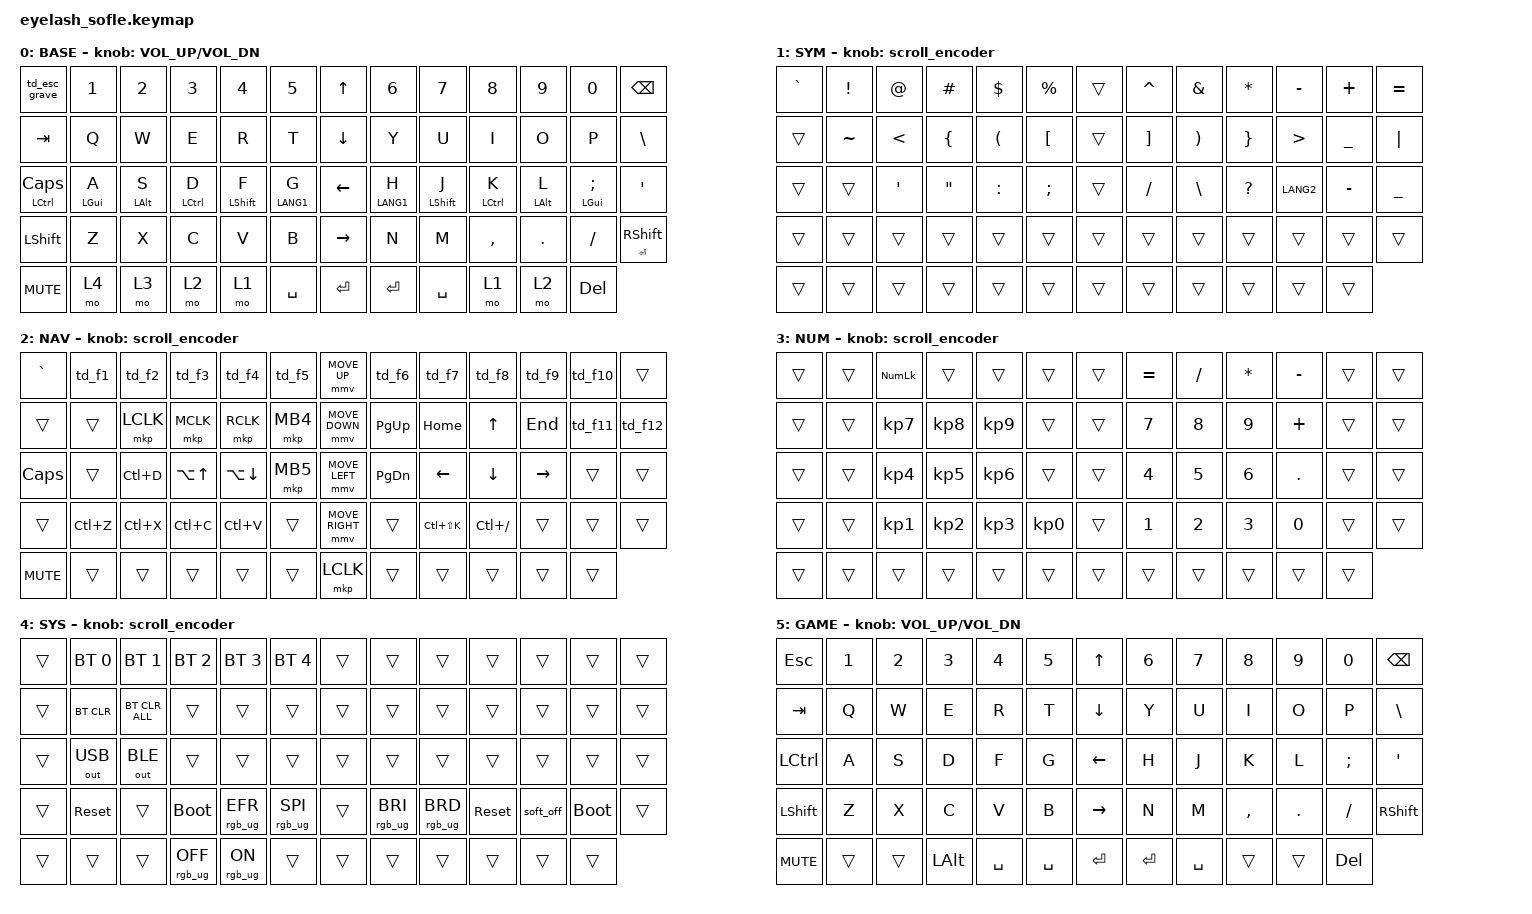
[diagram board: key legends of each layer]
#define ZMK_POINTING_DEFAULT_MOVE_VAL 1200  // 600
#define ZMK_POINTING_DEFAULT_SCRL_VAL 25   // 10

#include <input/processors.dtsi>
#include <zephyr/dt-bindings/input/input-event-codes.h>
#include <behaviors.dtsi>
#include <dt-bindings/zmk/bt.h>
#include <dt-bindings/zmk/keys.h>
#include <dt-bindings/zmk/outputs.h>
#include <dt-bindings/zmk/pointing.h>
#include <dt-bindings/zmk/rgb.h>

/*
 * Key Position Aliases for Eyelash Sofle
 * Row 1: 0-12
 * Row 2: 13-25
 * Row 3: 26-38
 * Row 4: 39-51
 * Row 5: 52-63
 */

#define KEY_Q 14
#define KEY_W 15
#define KEY_S 28
#define KEY_D 29
#define KEY_F 30
#define KEY_Z 40
#define KEY_J 34
#define KEY_K 35
#define KEY_L3 54  // Layer 3 (NUM) 버튼
#define KEY_L4 53  // Layer 4 (SYS) 버튼

&mmv_input_listener { input-processors = <&zip_xy_scaler 2 1>; };

&msc_input_listener { input-processors = <&zip_scroll_scaler 2 1>; };

&msc {
    acceleration-exponent = <1>;      // 0
    time-to-max-speed-ms = <100>;       // 300
    delay-ms = <0>;                   // 0
};

&mmv {
    time-to-max-speed-ms = <500>;
    acceleration-exponent = <1>;
    trigger-period-ms = <16>;
};

&soft_off { hold-time-ms = <2000>; };

/ {
    scroll_encoder: scroll_encoder {
        compatible = "zmk,behavior-sensor-rotate";
        #sensor-binding-cells = <0>;
        bindings = <&msc SCRL_DOWN>, <&msc SCRL_UP>;

        tap-ms = <100>;
    };

    ht: ht {
        compatible = "zmk,behavior-hold-tap";
        label = "HT";
        bindings = <&kp>, <&kp>;

        #binding-cells = <2>;
        tapping-term-ms = <200>;
        quick-tap-ms = <180>;
        require-prior-idle-ms = <150>; // 오타 방지를 위한 입력 유휴 시간 요구
        flavor = "tap-preferred";
    };

    behaviors {
        td_esc_grave: td_esc_grave {
            compatible = "zmk,behavior-tap-dance";
            #binding-cells = <0>;
            tapping-term-ms = <200>;
            bindings = <&kp ESC>, <&kp GRAVE>;
  // 탭: ESC, 더블탭: `
        };

        // F키 탭댄스: 1탭=Fn, 2탭=Ctrl+Fn, 3탭=Alt+Fn

        td_f1: td_f1 {
            compatible = "zmk,behavior-tap-dance";
            #binding-cells = <0>;
            tapping-term-ms = <250>;
            bindings = <&kp F1>, <&kp LC(F1)>, <&kp LA(F1)>;
        };

        td_f2: td_f2 {
            compatible = "zmk,behavior-tap-dance";
            #binding-cells = <0>;
            tapping-term-ms = <250>;
            bindings = <&kp F2>, <&kp LC(F2)>, <&kp LA(F2)>;
        };

        td_f3: td_f3 {
            compatible = "zmk,behavior-tap-dance";
            #binding-cells = <0>;
            tapping-term-ms = <250>;
            bindings = <&kp F3>, <&kp LC(F3)>, <&kp LA(F3)>;
        };

        td_f4: td_f4 {
            compatible = "zmk,behavior-tap-dance";
            #binding-cells = <0>;
            tapping-term-ms = <250>;
            bindings = <&kp F4>, <&kp LC(F4)>, <&kp LA(F4)>;
        };

        td_f5: td_f5 {
            compatible = "zmk,behavior-tap-dance";
            #binding-cells = <0>;
            tapping-term-ms = <250>;
            bindings = <&kp F5>, <&kp LC(F5)>, <&kp LA(F5)>;
        };

        td_f6: td_f6 {
            compatible = "zmk,behavior-tap-dance";
            #binding-cells = <0>;
            tapping-term-ms = <250>;
            bindings = <&kp F6>, <&kp LC(F6)>, <&kp LA(F6)>;
        };

        td_f7: td_f7 {
            compatible = "zmk,behavior-tap-dance";
            #binding-cells = <0>;
            tapping-term-ms = <250>;
            bindings = <&kp F7>, <&kp LC(F7)>, <&kp LA(F7)>;
        };

        td_f8: td_f8 {
            compatible = "zmk,behavior-tap-dance";
            #binding-cells = <0>;
            tapping-term-ms = <250>;
            bindings = <&kp F8>, <&kp LC(F8)>, <&kp LA(F8)>;
        };

        td_f9: td_f9 {
            compatible = "zmk,behavior-tap-dance";
            #binding-cells = <0>;
            tapping-term-ms = <250>;
            bindings = <&kp F9>, <&kp LC(F9)>, <&kp LA(F9)>;
        };

        td_f10: td_f10 {
            compatible = "zmk,behavior-tap-dance";
            #binding-cells = <0>;
            tapping-term-ms = <250>;
            bindings = <&kp F10>, <&kp LC(F10)>, <&kp LA(F10)>;
        };

        td_f11: td_f11 {
            compatible = "zmk,behavior-tap-dance";
            #binding-cells = <0>;
            tapping-term-ms = <250>;
            bindings = <&kp F11>, <&kp LC(F11)>, <&kp LA(F11)>;
        };

        td_f12: td_f12 {
            compatible = "zmk,behavior-tap-dance";
            #binding-cells = <0>;
            tapping-term-ms = <250>;
            bindings = <&kp F12>, <&kp LC(F12)>, <&kp LA(F12)>;
        };
    };

    combos {
        compatible = "zmk,combos";

        softoff {
            bindings = <&soft_off>;
            key-positions = <KEY_Q KEY_S KEY_Z>; // Q + S + Z
        };

        caps_word {
            bindings = <&caps_word>;
            key-positions = <KEY_F KEY_J>;  // F + J 홈로우 Shift 위치
            timeout-ms = <50>;
        };

        combo_esc {
            bindings = <&kp ESC>;
            key-positions = <KEY_J KEY_K>;  // J + K
            timeout-ms = <50>;
        };

        combo_tab {
            bindings = <&kp TAB>;
            key-positions = <KEY_D KEY_F>;  // D + F
            timeout-ms = <50>;
        };

        combo_gaming {
            bindings = <&tog 5>;
            key-positions = <KEY_L4 KEY_L3>;  // Layer 3 + Layer 4 동시 입력
            timeout-ms = <50>;
        };
    };

    keymap {
        compatible = "zmk,keymap";

        layer0 {
            bindings = <
&td_esc_grave   &kp N1      &kp N2      &kp N3       &kp N4       &kp N5         &kp UP_ARROW     &kp N6       &kp N7       &kp N8       &kp N9      &kp N0         &kp BACKSPACE
&kp TAB         &kp Q       &kp W       &kp E        &kp R        &kp T          &kp DOWN_ARROW   &kp Y        &kp U        &kp I        &kp O       &kp P          &kp BSLH
&ht LCTRL CAPS  &ht LGUI A  &ht LALT S  &ht LCTRL D  &ht LSHFT F  &ht LANG1 G    &kp LEFT_ARROW   &ht LANG1 H  &ht LSHFT J  &ht LCTRL K  &ht LALT L  &ht LGUI SEMI  &kp APOS
&kp LSHFT       &kp Z       &kp X       &kp C        &kp V        &kp B          &kp RIGHT_ARROW  &kp N        &kp M        &kp COMMA    &kp DOT     &kp FSLH       &ht RET RIGHT_SHIFT
&kp C_MUTE      &mo 4       &mo 3       &mo 2        &mo 1        &kp SPACE      &kp ENTER        &kp RET      &kp SPACE    &mo 1        &mo 2       &kp DELETE
            >;

            sensor-bindings = <&inc_dec_kp C_VOLUME_UP C_VOL_DN>;
            display-name = "BASE";
        };

        layer_1 {
            bindings = <
&kp GRAVE  &kp EXCL   &kp AT   &kp HASH  &kp DLLR   &kp PRCNT    &trans  &kp CARET  &kp AMPS  &kp ASTRK  &kp MINUS  &kp PLUS   &kp EQUAL
&trans     &kp TILDE  &kp LT   &kp LBRC  &kp LPAR   &kp LBKT     &trans  &kp RBKT   &kp RPAR  &kp RBRC   &kp GT     &kp UNDER  &kp PIPE
&trans     &trans     &kp SQT  &kp DQT   &kp COLON  &kp SEMI     &trans  &kp FSLH   &kp BSLH  &kp QMARK  &kp LANG2  &kp MINUS  &kp UNDERSCORE
&trans     &trans     &trans   &trans    &trans     &trans       &trans  &trans     &trans    &trans     &trans     &trans     &trans
&trans     &trans     &trans   &trans    &trans     &trans       &trans  &trans     &trans    &trans     &trans     &trans
            >;

            display-name = "SYM";
            sensor-bindings = <&scroll_encoder>;
        };

        layer_2 {
            bindings = <
&kp GRAVE     &td_f1     &td_f2     &td_f3      &td_f4        &td_f5      &mmv MOVE_UP     &td_f6     &td_f7         &td_f8        &td_f9     &td_f10  &trans
&trans        &trans     &mkp LCLK  &mkp MCLK   &mkp RCLK     &mkp MB4    &mmv MOVE_DOWN   &kp PG_UP  &kp HOME       &kp UP        &kp END    &td_f11  &td_f12
&kp CAPSLOCK  &trans     &kp LC(D)  &kp LA(UP)  &kp LA(DOWN)  &mkp MB5    &mmv MOVE_LEFT   &kp PG_DN  &kp LEFT       &kp DOWN      &kp RIGHT  &trans   &trans
&trans        &kp LC(Z)  &kp LC(X)  &kp LC(C)   &kp LC(V)     &trans      &mmv MOVE_RIGHT  &trans     &kp LC(LS(K))  &kp LC(FSLH)  &trans     &trans   &trans
&kp C_MUTE    &trans     &trans     &trans      &trans        &trans      &mkp LCLK        &trans     &trans         &trans        &trans     &trans
            >;

            display-name = "NAV";
            sensor-bindings = <&scroll_encoder>;
        };

        layer_3 {
            bindings = <
&trans  &trans  &kp KP_NUM       &trans           &trans           &trans             &trans  &kp EQUAL  &kp FSLH  &kp ASTRK  &kp MINUS  &trans  &trans
&trans  &trans  &kp KP_NUMBER_7  &kp KP_NUMBER_8  &kp KP_NUMBER_9  &trans             &trans  &kp N7     &kp N8    &kp N9     &kp PLUS   &trans  &trans
&trans  &trans  &kp KP_NUMBER_4  &kp KP_NUMBER_5  &kp KP_NUMBER_6  &trans             &trans  &kp N4     &kp N5    &kp N6     &kp DOT    &trans  &trans
&trans  &trans  &kp KP_NUMBER_1  &kp KP_NUMBER_2  &kp KP_NUMBER_3  &kp KP_NUMBER_0    &trans  &kp N1     &kp N2    &kp N3     &kp N0     &trans  &trans
&trans  &trans  &trans           &trans           &trans           &trans             &trans  &trans     &trans    &trans     &trans     &trans
            >;

            display-name = "NUM";
            sensor-bindings = <&scroll_encoder>;
        };

        layer_4 {
            bindings = <
&trans  &bt BT_SEL 0  &bt BT_SEL 1    &bt BT_SEL 2     &bt BT_SEL 3     &bt BT_SEL 4       &trans  &trans           &trans           &trans      &trans     &trans       &trans
&trans  &bt BT_CLR    &bt BT_CLR_ALL  &trans           &trans           &trans             &trans  &trans           &trans           &trans      &trans     &trans       &trans
&trans  &out OUT_USB  &out OUT_BLE    &trans           &trans           &trans             &trans  &trans           &trans           &trans      &trans     &trans       &trans
&trans  &sys_reset    &trans          &bootloader      &rgb_ug RGB_EFR  &rgb_ug RGB_SPI    &trans  &rgb_ug RGB_BRI  &rgb_ug RGB_BRD  &sys_reset  &soft_off  &bootloader  &trans
&trans  &trans        &trans          &rgb_ug RGB_OFF  &rgb_ug RGB_ON   &trans             &trans  &trans           &trans           &trans      &trans     &trans
            >;

            display-name = "SYS";
            sensor-bindings = <&scroll_encoder>;
        };

        layer_5 {
            bindings = <
&kp ESC     &kp N1  &kp N2  &kp N3    &kp N4     &kp N5       &kp UP_ARROW     &kp N6   &kp N7     &kp N8     &kp N9   &kp N0      &kp BACKSPACE
&kp TAB     &kp Q   &kp W   &kp E     &kp R      &kp T        &kp DOWN_ARROW   &kp Y    &kp U      &kp I      &kp O    &kp P       &kp BSLH
&kp LCTRL   &kp A   &kp S   &kp D     &kp F      &kp G        &kp LEFT_ARROW   &kp H    &kp J      &kp K      &kp L    &kp SEMI    &kp APOS
&kp LSHFT   &kp Z   &kp X   &kp C     &kp V      &kp B        &kp RIGHT_ARROW  &kp N    &kp M      &kp COMMA  &kp DOT  &kp FSLH    &kp RSHFT
&kp C_MUTE  &trans  &trans  &kp LALT  &kp SPACE  &kp SPACE    &kp ENTER        &kp RET  &kp SPACE  &trans     &trans   &kp DELETE
            >;

            display-name = "GAME";
            sensor-bindings = <&inc_dec_kp C_VOLUME_UP C_VOL_DN>;
        };
    };
};
